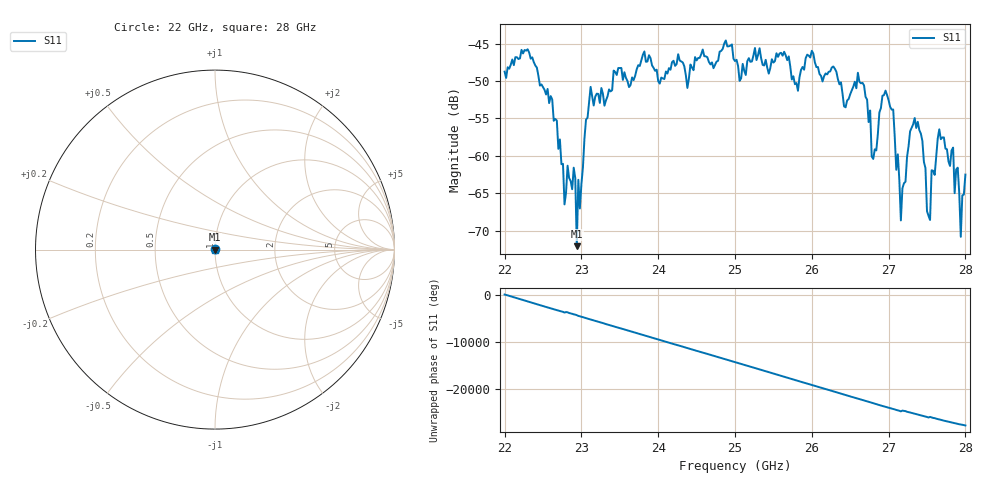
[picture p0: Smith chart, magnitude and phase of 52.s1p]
#  HZ  S  RI  R  50.00
! Rohde & Schwarz ZVA40 4Ports - Version 3.90 - 1145.1110k42 SN: 100403
! Date: 2023-10-04 10:44:19
! Measurement: S12
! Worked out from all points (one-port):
!   301 points, 22 GHz to 28 GHz, reference 50 ohm
!   lowest |S11| = -72.0 dB at 22.94 GHz (marker M1), VSWR 1.00, Z = 50 + j0.0122 ohm
!   |S11| at or under -10 dB: start of sweep to end of sweep
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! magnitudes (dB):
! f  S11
! 22 GHz  -48.7
! 22.3 GHz  -45.8
! 22.76 GHz  -61.0
! 22.78 GHz  -66.5
! 22.9 GHz  -61.6
! 22.94 GHz  -72.0
! 22.96 GHz  -63.2
! 22.98 GHz  -67.0
! 23.12 GHz  -50.8
! 23.5 GHz  -48.3
! 24.26 GHz  -46.4
! 25 GHz  -47.3
! 25.76 GHz  -49.4
! 26.5 GHz  -51.8
! 26.68 GHz  -50.6
! 26.8 GHz  -60.4
! 26.92 GHz  -52.0
! 27.06 GHz  -53.8
! 27.16 GHz  -68.6
! 27.26 GHz  -58.7
! 27.38 GHz  -55.4
! 27.54 GHz  -68.6
! 27.56 GHz  -61.9
! 27.66 GHz  -56.4
! 27.84 GHz  -58.9
! 27.9 GHz  -61.6
! 27.94 GHz  -70.8
! 28 GHz  -62.5
